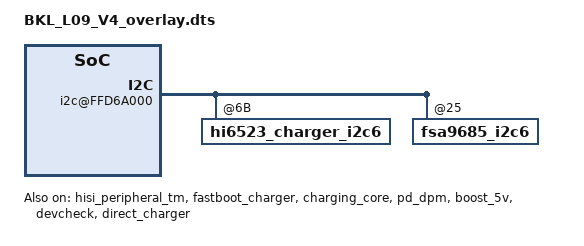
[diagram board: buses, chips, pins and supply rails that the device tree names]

/**
 * Copyright (C) 2014 Hisilicon Ltd.
 *
 *  This program is free software; you can redistribute it and/or modify
 *  it under the terms of the GNU General Public License version 2 as
 *  publishhed by the Free Software Foundation.
 */

/dts-v1/;
/plugin/;
/include/ "BKL_L09_V3_overlay.dtsi"

/ {
	board_id = <6992>;
};

&rootparam {
        hisi,dtbo_idx = <151>;
    hisi,boardid = <6 9 9 2>;
    hisi,boardname = "BKL_L09_V4";
};

	&hisi_peripheral_tm {
			hisi,detect_charger1_tm_chanel = <6>;
			hisi,detect_charger1_tm_ntc = "austin_hkadc_soc_temp_table";
			hisi,detect_charger1_tm_state = "enable";

			status = "ok";
	};

	&fastboot_charger {
		fastboot_single_phase_buck = <0>;
		status = "ok";
	};
	&charging_core {
		status = "ok";
		ichg_fcp = <3400>;
		iin_fcp = <2000>;
		ichg_ac = <2100>;
		iin_ac = <2000>;
		inductance_para =
			"-32767", "15", "2000", "0",
			"15", "32767", "2000", "0";
	};
	&pd_dpm {
		status = "ok";
	};
	&boost_5v {
		gpio_5v_boost = <&gpio25 2 0>;
		status = "ok";
	};
	&amba {
		i2c@FFD6A000 {
			hi6523_charger_i2c6@6B{
				status = "ok";
				single_phase_buck = <0>;
				fcp_support = <0>;
				scp_support = <0>;
				scp_need_extra_power = <0>;
			};
			fsa9685_i2c6@25{
				status = "ok";
			};
		};
	};
	&devcheck {
		usb_switch = <3>;
		status = "ok";
	};
	&direct_charger{
		scp_work_on_charger = <0>;
		status = "ok";
	};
